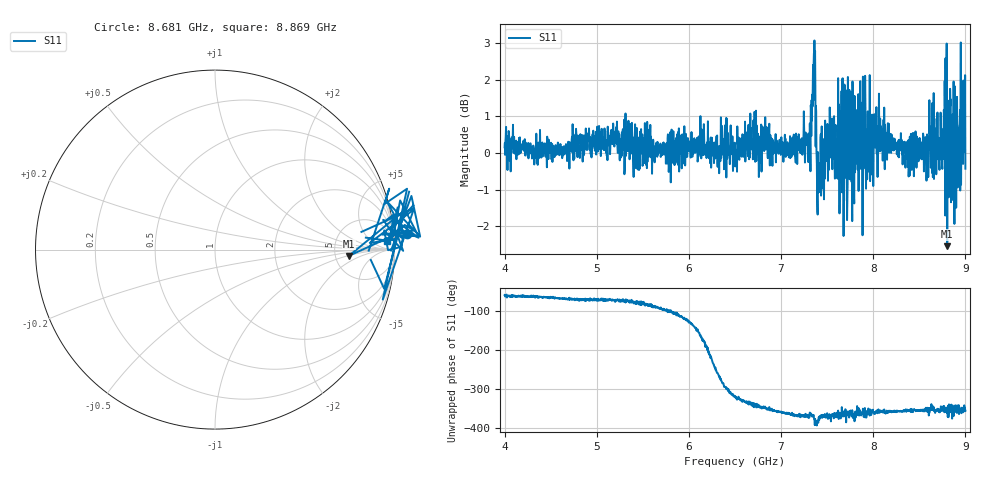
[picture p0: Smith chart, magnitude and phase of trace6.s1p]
! Created with skrf 1.8.0 (http://scikit-rf.org).
# Hz S RI R 50.0
!freq ReS11 ImS11
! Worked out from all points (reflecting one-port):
!   1601 points, 4 GHz to 9 GHz, reference 50 ohm
!   lowest |S11| = -2.5 dB at 8.803 GHz (marker M1), VSWR 6.88, Z = 335 - j53.3 ohm
!   phase of S11 starts at -60 deg and turns -296 deg over the sweep
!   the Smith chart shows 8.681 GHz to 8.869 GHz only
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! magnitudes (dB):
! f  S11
! 4 GHz  0.2
! 4.625 GHz  -0.1
! 5.25 GHz  -0.2
! 5.875 GHz  0.5
! 6.412 GHz  0.3
! 6.5 GHz  0.2
! 6.725 GHz  0.5
! 7.125 GHz  0.2
! 7.294 GHz  -0.2
! 7.319 GHz  -0.5
! 7.347 GHz  2.4
! 7.362 GHz  3.1
! 7.4 GHz  0.0
! 7.412 GHz  -1.1
! 7.512 GHz  0.3
! 7.591 GHz  0.8
! 7.644 GHz  1.1
! 7.703 GHz  -0.6
! 7.75 GHz  -0.7
! 7.769 GHz  0.0
! 7.834 GHz  1.0
! 7.944 GHz  0.4
! 8.038 GHz  0.0
! 8.375 GHz  0.1
! 8.803 GHz  -2.5
! 8.869 GHz  -0.4
! 8.972 GHz  0.4
! 9 GHz  -0.4
